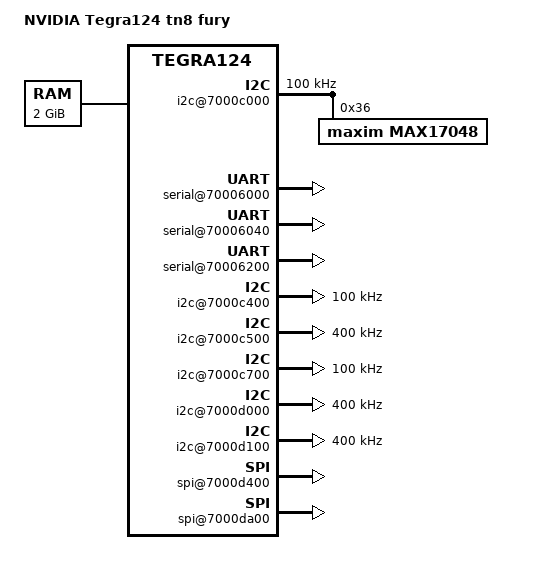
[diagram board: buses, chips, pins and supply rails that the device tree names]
/dts-v1/;

/include/ "tegra124.dtsi"

/ {
	model = "NVIDIA Tegra124 tn8 fury";
	compatible = "nvidia,tn8", "nvidia,tegra124";
	#address-cells = <1>;
	#size-cells = <1>;

	chosen {
		bootargs = "tegraid=40.0.0.00.00 vmalloc=256M video=tegrafb console=ttyS0,115200n8 earlyprintk";
		linux,initrd-start = <0x85000000>;
		linux,initrd-end = <0x851bc400>;
	};
	/* Battery model data for YOKU 3900mA for MAX17048 */
	i2c@7000c000 {
		status = "okay";
		clock-frequency = <100000>;

		max17048@36 {
			compatible = "maxim,max17048";
			reg = <0x36>;
			tz-name = "battery-temp";
			alert-threshold = <0>;          /* 1% SOC */
			one-percent-alerts = <0x40>;
			valert-max = <5100>;            /* not use */
			valert-min = <0>;               /* not use */
			vreset-threshold = <2400>;
			vreset-disable = <1>;           /* not use */
			hib-threshold = <48>;           /* 9.984%/hr */
			hib-active-threshold = <128>;   /* 160mV */
			bits = <19>;
			rcomp = <57>;
			rcomp-seg = <0x0000>;
			soccheck-a = <237>;
			soccheck-b = <239>;
			ocvtest = <55952>;
			data-tbl = <0x98 0x60 0xB0 0xC0 0xB7 0xB0 0xBA 0x10
				0xBB 0xE0 0xBC 0x10 0xBC 0xC0 0xBD 0xF0
				0xBF 0x00 0xC0 0x10 0xC1 0xF0 0xC4 0x00
				0xC6 0x70 0xC8 0xE0 0xCA 0x80 0xD0 0x90
				0x00 0x80 0x06 0xA0 0x21 0x40 0x22 0x80
				0x49 0x90 0x6C 0x80 0x45 0xA0 0x2D 0xE0
				0x2D 0xC0 0x17 0x80 0x1A 0x00 0x18 0xA0
				0x18 0x20 0x15 0x40 0x0E 0xA0 0x0E 0xA0>;
		};
	};

        serial@70006000 {
                compatible = "nvidia,tegra114-hsuart";
                status = "okay";
        };

        serial@70006040 {
                compatible = "nvidia,tegra114-hsuart";
                status = "okay";
        };

        serial@70006200 {
                compatible = "nvidia,tegra114-hsuart";
                status = "okay";
        };

	memory@0x80000000 {
		device_type = "memory";
		reg = <0x80000000 0x80000000>;
	};

	i2c@7000c000 {
		status = "okay";
		clock-frequency = <100000>;
	};

	i2c@7000c400 {
		status = "okay";
		clock-frequency = <100000>;
	};

	i2c@7000c500 {
		status = "okay";
		clock-frequency = <400000>;
	};

	i2c@7000c700 {
		status = "okay";
		clock-frequency = <100000>;
	};

	i2c@7000d000 {
		status = "okay";
		clock-frequency = <400000>;
		nvidia,bit-banging-xfer-after-shutdown;
	};

	i2c@7000d100 {
		status = "okay";
		clock-frequency = <400000>;
	};

	spi@7000d400 {
		status = "okay";
		spi-max-frequency = <25000000>;
	};

	spi@7000da00 {
		status = "okay";
		spi-max-frequency = <25000000>;
	};
};
